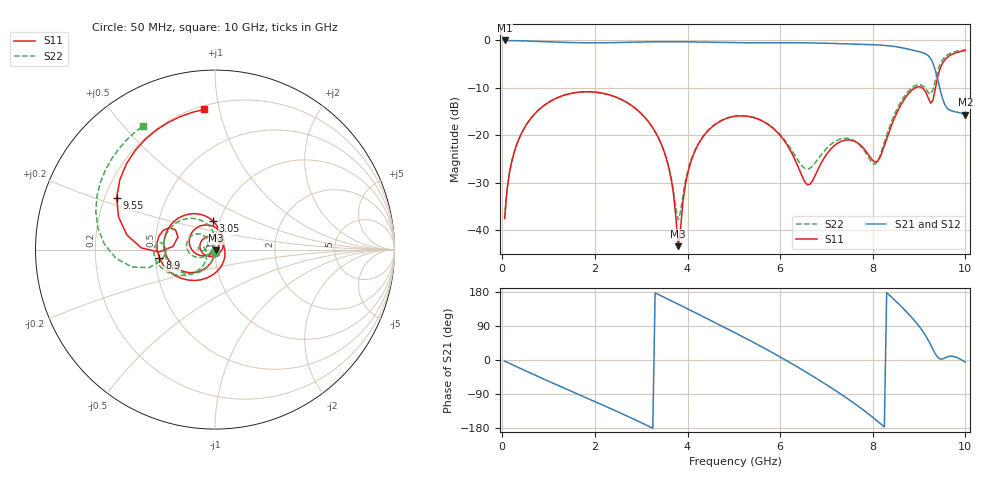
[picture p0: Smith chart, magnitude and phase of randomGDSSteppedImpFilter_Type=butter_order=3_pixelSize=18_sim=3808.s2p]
! freq	dB(S11)	phase(S11)	dB(S12)	phase(S12)
!  dB(S21)	phase(S21)	dB(S22)	phase(S22)
!S-par simulation data
#  GHz  S  DB  R 50
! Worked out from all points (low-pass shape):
!   200 points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, 50 MHz to 10 GHz, reference 50 ohm
!   highest |S21| = -0.01 dB at 50 MHz (marker M1); lowest = -15.6 dB at 10 GHz (marker M2)
!   |S21| within 3 dB of the highest: start of sweep to 9.167 GHz
!   lowest |S11| = -43.4 dB at 3.8 GHz (marker M3), VSWR 1.01, Z = 50.6 - j0.326 ohm
!   |S11| at or under -10 dB: start of sweep to 8.915 GHz; 9.066 GHz to 9.353 GHz (286.9 MHz wide, 3.12 % of centre)
!   |S22| runs from -37.8 to -2.0 dB; largest |S21 - S12| = 0
!   S11 on the Smith chart (normalised r, x): 50 MHz: 1.00, -0.03; 3.05 GHz: 0.93, +0.30; 8.9 GHz: 0.52, -0.06; 9.55 GHz: 0.25, +0.23; 10 GHz: 0.22, +0.90
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0.05  -37.57 -92.5  -0.01 -2.9  -0.01 -2.9  -37.57 -92.3
0.2  -25.68 -101.9  -0.03 -11.5  -0.03 -11.5  -25.68 -101.2
0.5  -18.06 -119.7  -0.11 -28.4  -0.11 -28.4  -18.06 -118.0
1.15  -12.26 -156.8  -0.35 -64.2  -0.35 -64.2  -12.26 -152.8
1.75  -10.83 169.9  -0.49 -96.4  -0.49 -96.4  -10.83 176.3
3.05  -15.93 94.2  -0.33 -168.3  -0.33 -168.3  -15.93 110.1
3.4  -21.13 71.0  -0.28 171.1  -0.28 171.1  -21.12 94.4
3.65  -29.39 49.4  -0.27 156.1  -0.27 156.1  -29.11 93.0
3.8  -43.37 -28.4  -0.28 147.0  -0.28 147.0  -37.80 150.0
3.95  -30.63 -129.3  -0.29 137.9  -0.29 137.9  -29.87 -147.3
4.15  -23.55 -148.5  -0.33 125.7  -0.33 125.7  -23.34 -146.1
5.05  -15.97 147.9  -0.48 70.2  -0.48 70.2  -15.91 171.5
5.95  -19.49 75.2  -0.47 11.5  -0.47 11.5  -19.35 130.4
6.7  -29.55 -86.8  -0.52 -42.3  -0.52 -42.3  -26.46 173.5
7.55  -21.07 137.0  -0.75 -110.1  -0.75 -110.1  -20.87 169.5
8.05  -25.63 25.6  -0.92 -156.1  -0.92 -156.1  -26.08 -162.6
8.35  -19.33 -76.1  -1.14 172.3  -1.14 172.3  -18.53 -127.0
8.9  -10.07 -171.3  -2.13 104.1  -2.13 104.1  -9.62 -167.1
9.25  -13.24 161.1  -3.83 39.9  -3.83 39.9  -11.32 -178.1
9.4  -7.77 178.8  -8.13 7.3  -8.13 7.3  -6.51 -168.1
9.55  -4.16 152.2  -13.41 4.8  -13.41 4.8  -3.56 169.5
10  -2.12 94.3  -15.64 -5.5  -15.64 -5.5  -1.96 120.1
